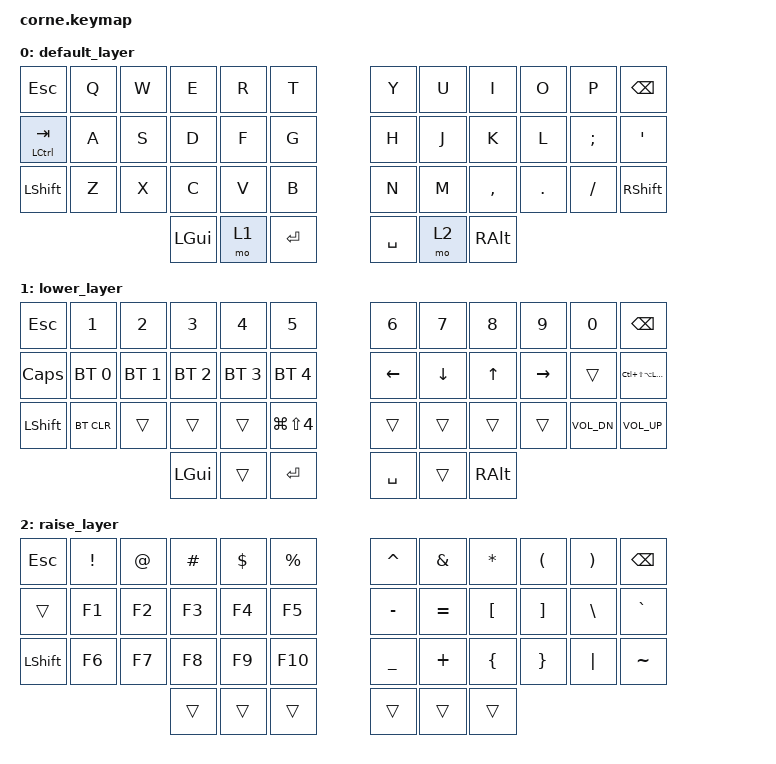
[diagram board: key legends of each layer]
/*
 * Copyright (c) 2020 The ZMK Contributors
 *
 * SPDX-License-Identifier: MIT
 */

#include <behaviors.dtsi>
#include <dt-bindings/zmk/bt.h>
#include <dt-bindings/zmk/keys.h>

/ {
    behaviors {
          tp: tap_preferred {
            compatible = "zmk,behavior-hold-tap";
            label = "TAP_PREFERRED";
            #binding-cells = <2>;
            tapping-term-ms = <150>;
            quick-tap-ms = <0>;
            flavor = "tap-preferred";
            bindings = <&kp>, <&kp>;
          }; 
        };


    keymap {
        compatible = "zmk,keymap";

        default_layer {
            // -------------------------------------------------------------------------------------
            // |  ESC     |  Q  |  W  |  E  |  R  |  T  |   |  Y  |  U   |  I  |  O  |  P  | BKSP  |
            // | CTRL/TAB |  A  |  S  |  D  |  F  |  G  |   |  H  |  J   |  K  |  L  |  ;  |  '    |
            // | SHFT     |  Z  |  X  |  C  |  V  |  B  |   |  N  |  M   |  ,  |  .  |  /  | RSHT  |
            //                        | GUI | LWR | RET |   | SPC | RSE  | ALT |

            bindings = <
&kp ESC        &kp Q  &kp W  &kp E     &kp R  &kp T        &kp Y      &kp U  &kp I      &kp O    &kp P     &kp BSPC
&mt LCTRL TAB  &kp A  &kp S  &kp D     &kp F  &kp G        &kp H      &kp J  &kp K      &kp L    &kp SEMI  &kp SQT
&kp LSHFT      &kp Z  &kp X  &kp C     &kp V  &kp B        &kp N      &kp M  &kp COMMA  &kp DOT  &kp FSLH  &kp RSHFT
                             &kp LGUI  &mo 1  &kp RET      &kp SPACE  &mo 2  &kp RALT
            >;
        };

        lower_layer {
            // -----------------------------------------------------------------------------------------
            // |  ESC |  1    |  2    |  3    |  4    |  5         |   |  6  |  7  | 8  |  9  |  0     | BKSP   |
            // | CAPS | BT1   | BT2   | BT3   | BT4   | BT5        |   | LFT | DWN | UP | RGT |        | HYPER  |
            // | SHFT | BTCLR |       |       |       | CMD SHFT 4 |   |     |     |    |     | VOL_DN | VOL_UP |
            //                        | GUI   |       | RET        |   | SPC |      | ALT        |

            bindings = <
&kp ESC       &kp N1        &kp N2        &kp N3        &kp N4        &kp N5            &kp N6     &kp N7      &kp N8    &kp N9      &kp N0        &kp BSPC
&kp CAPSLOCK  &bt BT_SEL 0  &bt BT_SEL 1  &bt BT_SEL 2  &bt BT_SEL 3  &bt BT_SEL 4      &kp LEFT   &kp DOWN    &kp UP    &kp RIGHT   &trans        &kp LC(LS(LA(LGUI)))
&kp LSHFT     &bt BT_CLR    &trans        &trans        &trans        &kp LG(LS(N4))    &trans     &trans      &trans    &trans      &kp C_VOL_DN  &kp C_VOL_UP
                                          &kp LGUI      &trans        &kp RET           &kp SPACE  &trans      &kp RALT
            >;
        };

        raise_layer {
            // -----------------------------------------------------------------------------------------
            // |  ESC |  !  |  @  |  #  |  $  |  %  |   |  ^  |  &  |  *  |  (  |  )  | BKSP |
            // |      |  F1 | F2  | F3  | F4  | F5  |   |  -  |  =  |  [  |  ]  |  \  |  `   |
            // | SHFT |  F6 | F7  | F8  | F9  | F10 |   |  _  |  +  |  {  |  }  | "|" |  ~   |
            //                    |     |     |     |   |     |     |     |

            bindings = <
&kp ESC        &kp EXCL  &kp AT  &kp HASH  &kp DLLR  &kp PRCNT    &kp CARET  &kp AMPS   &kp ASTRK  &kp LPAR  &kp RPAR  &kp BSPC
&trans         &kp F1    &kp F2  &kp F3    &kp F4    &kp F5       &kp MINUS  &kp EQUAL  &kp LBKT   &kp RBKT  &kp BSLH  &kp GRAVE
&kp LSHFT      &kp F6    &kp F7  &kp F8    &kp F9    &kp F10      &kp UNDER  &kp PLUS   &kp LBRC   &kp RBRC  &kp PIPE  &kp TILDE
                                 &trans    &trans    &trans       &trans    &trans    &trans
            >;
        };
    };
};
